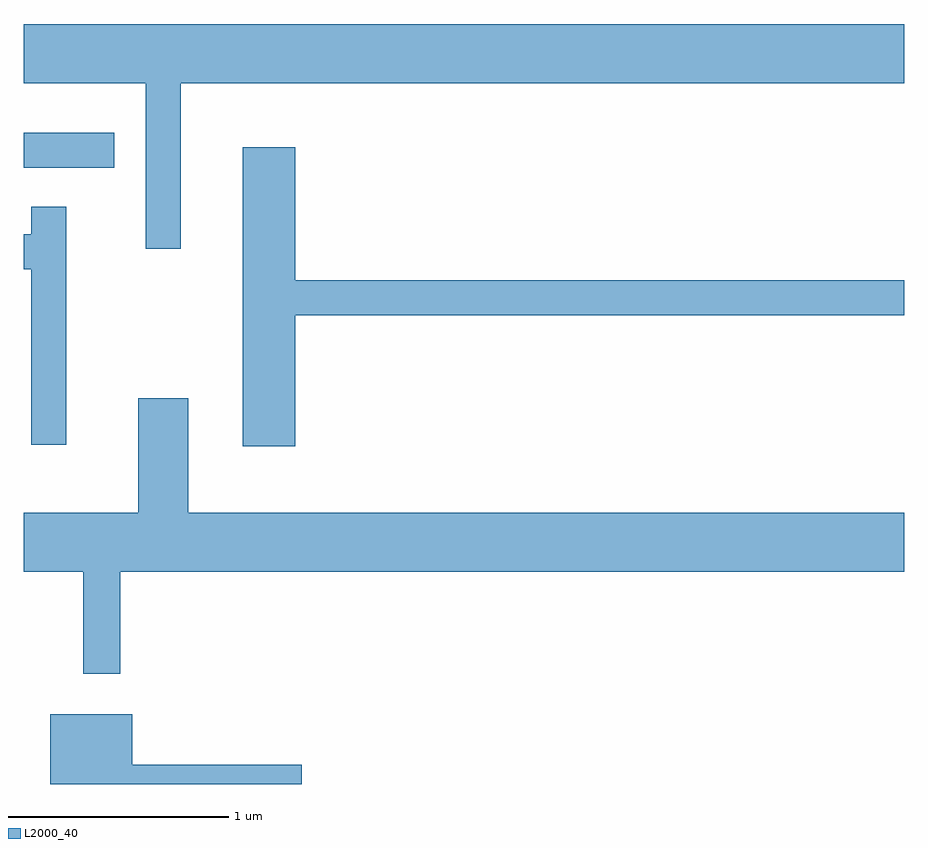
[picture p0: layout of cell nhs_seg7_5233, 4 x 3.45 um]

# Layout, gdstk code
import gdstk
lib = gdstk.Library(unit=1e-6, precision=1e-09)
def R(c, l, rs):  # rectangles x0, y0, x1, y1
    for r in rs: c.add(gdstk.rectangle(r[:2], r[2:], *l))
def P(c, l, *ps):  # polygons
    for p in ps: c.add(gdstk.Polygon(p, *l))
L2000_40 = (2000, 40)

nhs_seg7_5233 = lib.new_cell('nhs_seg7_5233')
R(nhs_seg7_5233, L2000_40, [(345.611,1705.051,346.023,1705.209)])
P(nhs_seg7_5233, L2000_40, [(346.324,1705.436),(349.611,1705.436),(349.611,1705.704),(345.611,1705.704),(345.611,1705.436),(346.166,1705.436),(346.166,1704.683),(346.324,1704.683)],
  [(346.844,1704.381),(349.611,1704.381),(349.611,1704.539),(346.844,1704.539),(346.844,1705.144),(346.606,1705.144),(346.606,1703.786),(346.844,1703.786)],
  [(345.804,1704.873),(345.646,1704.873),(345.646,1704.749),(345.611,1704.749),(345.611,1704.591),(345.646,1704.591),(345.646,1703.793),(345.804,1703.793)],
  [(346.049,1703.216),(349.611,1703.216),(349.611,1703.484),(346.359,1703.484),(346.359,1704.004),(346.131,1704.004),(346.131,1703.484),(345.611,1703.484),(345.611,1703.216),(345.881,1703.216),(345.881,1702.753),(346.049,1702.753)],
  [(346.874,1702.339),(346.104,1702.339),(346.104,1702.569),(345.731,1702.569),(345.731,1702.252),(346.874,1702.252)])

lib.write_gds('nhs_seg7_5233.gds')
